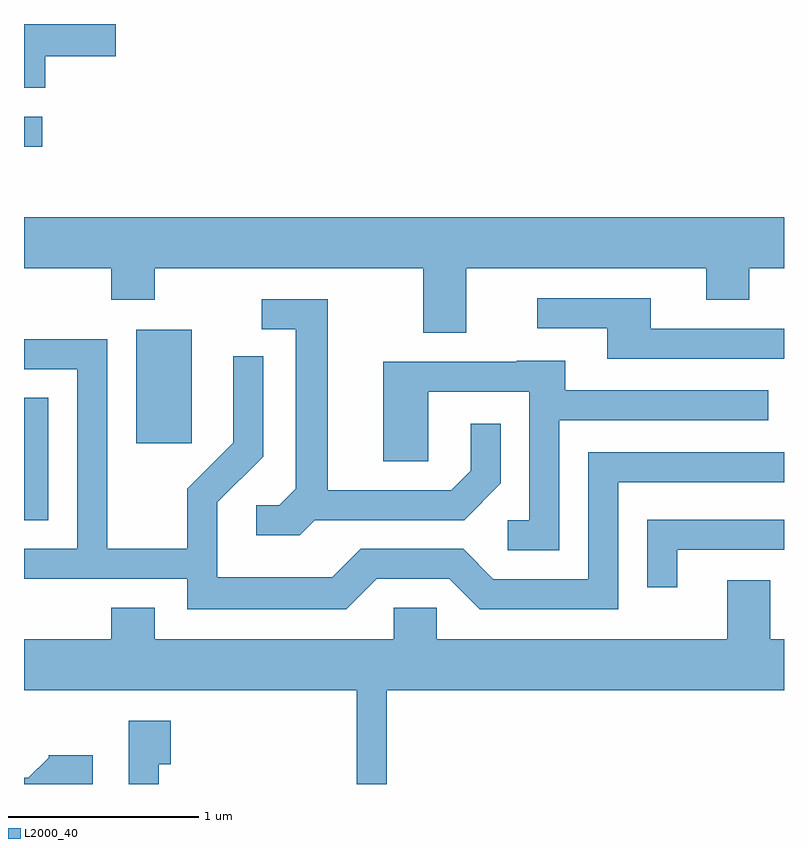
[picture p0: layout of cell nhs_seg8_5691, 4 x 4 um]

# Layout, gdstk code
import gdstk
lib = gdstk.Library(unit=1e-6, precision=1e-09)
def R(c, l, rs):  # rectangles x0, y0, x1, y1
    for r in rs: c.add(gdstk.rectangle(r[:2], r[2:], *l))
def P(c, l, *ps):  # polygons
    for p in ps: c.add(gdstk.Polygon(p, *l))
L2000_40 = (2000, 40)

nhs_seg8_5691 = lib.new_cell('nhs_seg8_5691')
R(nhs_seg8_5691, L2000_40, [(355.611,1861.731,355.739,1862.374), (356.201,1862.136,356.494,1862.734), (355.611,1863.696,355.708,1863.854)])
P(nhs_seg8_5691, L2000_40, [(355.724,1864.171),(356.094,1864.171),(356.094,1864.342),(355.611,1864.342),(355.611,1864.006),(355.724,1864.006)],
  [(357.939,1863.056),(359.201,1863.056),(359.201,1862.891),(359.429,1862.891),(359.429,1863.056),(359.611,1863.056),(359.611,1863.324),(355.611,1863.324),(355.611,1863.056),(356.071,1863.056),(356.071,1862.891),(356.299,1862.891),(356.299,1863.056),(357.711,1863.056),(357.711,1862.716),(357.939,1862.716)],
  [(359.611,1862.739),(358.909,1862.739),(358.909,1862.899),(358.313,1862.899),(358.313,1862.741),(358.681,1862.741),(358.681,1862.581),(359.611,1862.581)],
  [(357.142,1861.731),(357.927,1861.731),(358.119,1861.924),(358.119,1862.238),(357.961,1862.238),(357.961,1861.992),(357.859,1861.889),(357.209,1861.889),(357.209,1862.894),(356.863,1862.894),(356.863,1862.736),(357.041,1862.736),(357.041,1861.897),(356.954,1861.809),(356.833,1861.809),(356.833,1861.651),(357.062,1861.651)],
  [(357.467,1861.421),(357.849,1861.421),(358.009,1861.261),(358.739,1861.261),(358.739,1861.931),(359.611,1861.931),(359.611,1862.089),(358.581,1862.089),(358.581,1861.419),(358.082,1861.419),(357.922,1861.579),(357.384,1861.579),(357.234,1861.429),(356.629,1861.429),(356.629,1861.824),(356.869,1862.064),(356.869,1862.593),(356.711,1862.593),(356.711,1862.137),(356.471,1861.897),(356.471,1861.579),(356.049,1861.579),(356.049,1862.684),(355.611,1862.684),(355.611,1862.526),(355.891,1862.526),(355.891,1861.579),(355.611,1861.579),(355.611,1861.421),(356.471,1861.421),(356.471,1861.261),(357.307,1861.261)],
  [(358.429,1862.256),(359.528,1862.256),(359.528,1862.414),(358.459,1862.414),(358.459,1862.569),(358.205,1862.569),(358.205,1862.564),(357.501,1862.564),(357.501,1862.041),(357.739,1862.041),(357.739,1862.406),(358.271,1862.406),(358.271,1861.729),(358.158,1861.729),(358.158,1861.571),(358.429,1861.571)],
  [(359.049,1861.576),(359.611,1861.576),(359.611,1861.734),(358.891,1861.734),(358.891,1861.378),(359.049,1861.378)],
  [(357.519,1860.836),(359.611,1860.836),(359.611,1861.104),(359.539,1861.104),(359.539,1861.414),(359.311,1861.414),(359.311,1861.104),(357.784,1861.104),(357.784,1861.269),(357.556,1861.269),(357.556,1861.104),(356.299,1861.104),(356.299,1861.269),(356.071,1861.269),(356.071,1861.104),(355.611,1861.104),(355.611,1860.836),(357.361,1860.836),(357.361,1860.342),(357.519,1860.342)],
  [(356.319,1860.446),(356.384,1860.446),(356.384,1860.674),(356.161,1860.674),(356.161,1860.342),(356.319,1860.342)],
  [(355.973,1860.494),(355.74,1860.494),(355.74,1860.481),(355.634,1860.374),(355.611,1860.374),(355.611,1860.342),(355.973,1860.342)])

lib.write_gds('nhs_seg8_5691.gds')
